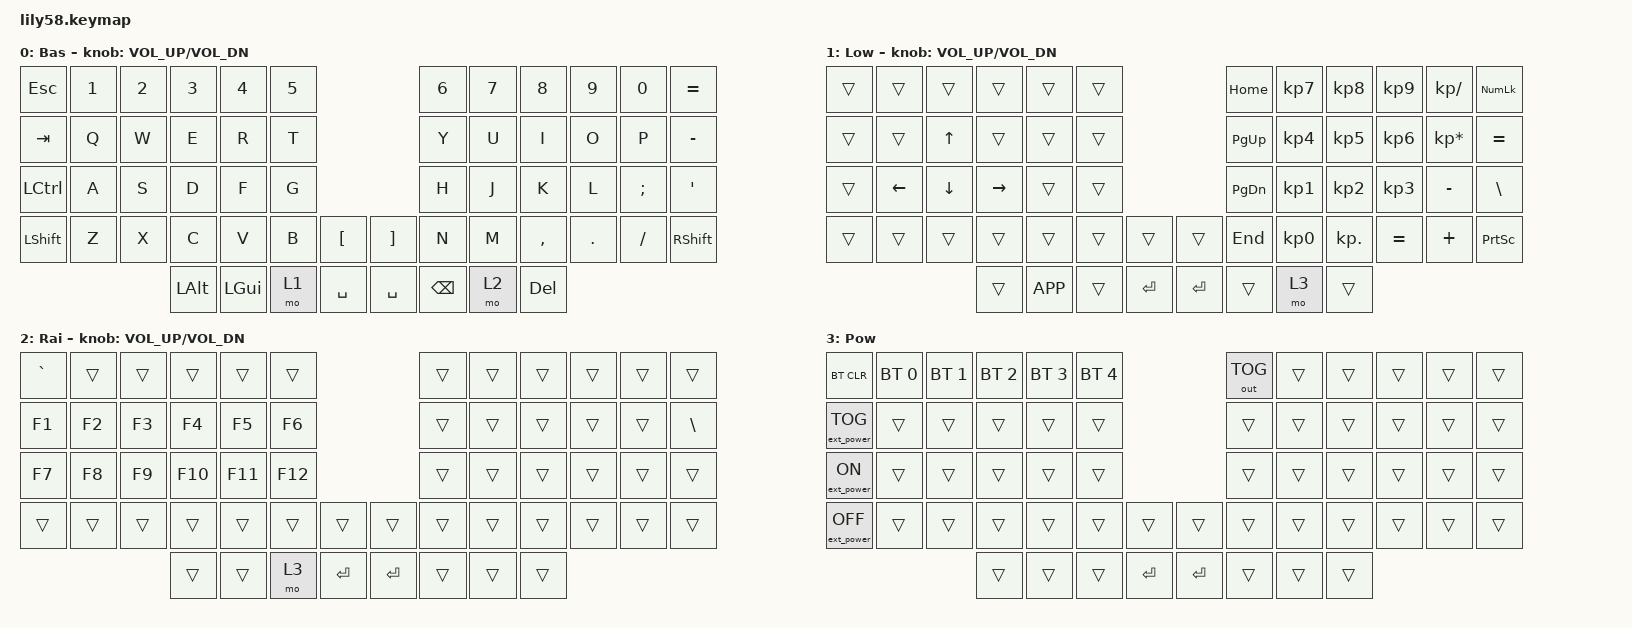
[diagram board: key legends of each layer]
/*
 * Copyright (c) 2020 The ZMK Contributors
 *
 * SPDX-License-Identifier: MIT
 */

#include <behaviors.dtsi>
#include <dt-bindings/zmk/bt.h>
#include <dt-bindings/zmk/ext_power.h>
#include <dt-bindings/zmk/keys.h>
#include <dt-bindings/zmk/outputs.h>

 /* commenting out the old oled enabling code
/ {
    chosen { zephyr,display = &oled; };
};
 */

/ {
    keymap {
        compatible = "zmk,keymap";

        default_layer {
            // ------------------------------------------------------------------------------------------------------------
            // |  ESC  |  1  |  2  |  3   |  4   |  5   |                   |  6   |  7    |  8    |  9   |   0   |  BSPC |
            // |  TAB  |  Q  |  W  |  E   |  R   |  T   |                   |  Y   |  U    |  I    |  O   |   P   |   -   |
            // |  CTRL |  A  |  S  |  D   |  F   |  G   |                   |  H   |  J    |  K    |  L   |   ;   |   '   |
            // | SHIFT |  Z  |  X  |  C   |  V   |  B   |   "["  |  |  "]"  |  N   |  M    |  ,    |  .   |   /   | SHIFT |
            //                     | ALT  | GUI  | LOWER|  SPACE |  | SPACE | BSPC | RAISE | Del  |

            display-name = "Bas";
            bindings = <
&kp ESC    &kp N1  &kp N2  &kp N3    &kp N4    &kp N5                          &kp N6         &kp N7  &kp N8      &kp N9   &kp N0    &kp EQUAL
&kp TAB    &kp Q   &kp W   &kp E     &kp R     &kp T                           &kp Y          &kp U   &kp I       &kp O    &kp P     &kp MINUS
&kp LCTRL  &kp A   &kp S   &kp D     &kp F     &kp G                           &kp H          &kp J   &kp K       &kp L    &kp SEMI  &kp SQT
&kp LSHFT  &kp Z   &kp X   &kp C     &kp V     &kp B   &kp LBKT     &kp RBKT   &kp N          &kp M   &kp COMMA   &kp DOT  &kp FSLH  &kp RSHFT
                           &kp LALT  &kp LGUI  &mo 1   &kp SPACE    &kp SPACE  &kp BACKSPACE  &mo 2   &kp DELETE
            >;

            sensor-bindings = <&inc_dec_kp C_VOL_UP C_VOL_DN>;
        };

        lower_layer {
            // ------------------------------------------------------------------------------------------------------------
            // |       |     |     |      |      |      |                   | Home  | Num 7 | Num 8 | Num 9|   /   | NumLk |
            // |       |     |  ^  |      |      |      |                   | PgUp  | Num 4 | Num 5 | Num 6|   *   |   =   |
            // |       |  <- |  v  |  ->  |      |      |                   | PgDown| Num 1 | Num 2 | Num 3|   -   |   \   |
            // |       |     |     |      |      |      |        |  |       | End   | Num 0 |   .   |   =  |   +   | PScrn |
            //                     |      |  App |      |  Enter |  | Enter |       |3rd Row|       |

            display-name = "Low";
            bindings = <
&trans  &trans    &trans    &trans     &trans     &trans                      &kp HOME       &kp KP_NUMBER_7  &kp KP_NUMBER_8  &kp KP_NUMBER_9  &kp KP_DIVIDE    &kp KP_NLCK
&trans  &trans    &kp UP    &trans     &trans     &trans                      &kp PG_UP      &kp KP_NUMBER_4  &kp KP_NUMBER_5  &kp KP_NUMBER_6  &kp KP_MULTIPLY  &kp EQUAL
&trans  &kp LEFT  &kp DOWN  &kp RIGHT  &trans     &trans                      &kp PAGE_DOWN  &kp KP_NUMBER_1  &kp KP_NUMBER_2  &kp KP_NUMBER_3  &kp MINUS        &kp BACKSLASH
&trans  &trans    &trans    &trans     &trans     &trans  &trans     &trans   &kp END        &kp KP_NUMBER_0  &kp KP_DOT       &kp EQUAL        &kp PLUS         &kp PSCRN
                            &trans     &kp K_APP  &trans  &kp RET    &kp RET  &trans         &mo 3            &trans
            >;

            sensor-bindings = <&inc_dec_kp C_VOL_UP C_VOL_DN>;
        };

        raise_layer {
            // ------------------------------------------------------------------------------------------------------------
            // |   `   |     |      |      |      |       |                   |      |       |       |      |       |       |
            // |  F1   |  F2 |  F3  |  F4  |  F5  |  F6   |                   |      |       |       |      |       |   \   |
            // |  F7   |  F8 |  F9  |  F10 |  F11 |  F12  |                   |      |       |       |      |       |       |
            // |       |     |      |      |      |       |        |  |       |      |       |       |      |       |       |
            //                      |      |      |3rd Row| Enter  |  | Enter |      |       |       |

            display-name = "Rai";
            bindings = <
&kp GRAVE  &trans  &trans  &trans   &trans   &trans                       &trans  &trans  &trans  &trans  &trans  &trans
&kp F1     &kp F2  &kp F3  &kp F4   &kp F5   &kp F6                       &trans  &trans  &trans  &trans  &trans  &kp BACKSLASH
&kp F7     &kp F8  &kp F9  &kp F10  &kp F11  &kp F12                      &trans  &trans  &trans  &trans  &trans  &trans
&trans     &trans  &trans  &trans   &trans   &trans   &trans     &trans   &trans  &trans  &trans  &trans  &trans  &trans
                           &trans   &trans   &mo 3    &kp RET    &kp RET  &trans  &trans  &trans
            >;

            sensor-bindings = <&inc_dec_kp C_VOL_UP C_VOL_DN>;
        };

        Control_Layer {
            // ------------------------------------------------------------------------------------------------------------
            // | BTCLR | BT1 | BT2  |  BT3 |  BT4 |  BT5 |                   |OutTog|       |       |      |       |       |
            // | EP TOG|     |      |      |      |      |                   |      |       |       |      |       |       |
            // | EP ON |     |      |      |      |      |                   |      |       |       |      |       |       |
            // | EP OFF|     |      |      |      |      |        |  |       |      |       |       |      |       |       |
            //                      |      |      |      | Enter  |  | Enter |      |       |

            display-name = "Pow";
            bindings = <
&bt BT_CLR         &bt BT_SEL 0  &bt BT_SEL 1  &bt BT_SEL 2  &bt BT_SEL 3  &bt BT_SEL 4                      &out OUT_TOG  &trans  &trans  &trans  &trans  &trans
&ext_power EP_TOG  &trans        &trans        &trans        &trans        &trans                            &trans        &trans  &trans  &trans  &trans  &trans
&ext_power EP_ON   &trans        &trans        &trans        &trans        &trans                            &trans        &trans  &trans  &trans  &trans  &trans
&ext_power EP_OFF  &trans        &trans        &trans        &trans        &trans        &trans     &trans   &trans        &trans  &trans  &trans  &trans  &trans
                                               &trans        &trans        &trans        &kp RET    &kp RET  &trans        &trans  &trans
            >;
        };
    };
};
